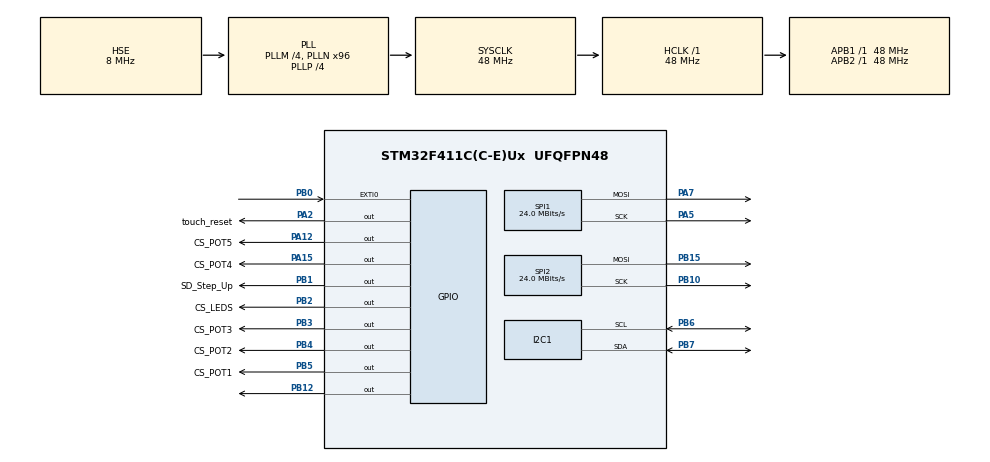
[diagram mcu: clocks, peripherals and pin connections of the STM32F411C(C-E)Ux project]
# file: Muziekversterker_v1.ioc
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Mcu.Family=STM32F4
Mcu.Name=STM32F411C(C-E)Ux
Mcu.Package=UFQFPN48
NVIC.EXTI0_IRQn=true\:0\:0\:false\:false\:true\:true\:true
NVIC.PriorityGroup=NVIC_PRIORITYGROUP_4
PA12.GPIO_Label=CS_POT5
PA12.Signal=GPIO_Output
PA13.Mode=Serial_Wire
PA13.Signal=SYS_JTMS-SWDIO
PA14.Mode=Serial_Wire
PA14.Signal=SYS_JTCK-SWCLK
PA15.GPIO_Label=CS_POT4
PA15.Signal=GPIO_Output
PA2.GPIO_Label=touch_reset
PA2.Signal=GPIO_Output
PA5.Mode=TX_Only_Simplex_Unidirect_Master
PA5.Signal=SPI1_SCK
PA7.Mode=TX_Only_Simplex_Unidirect_Master
PA7.Signal=SPI1_MOSI
PB0.GPIO_ModeDefaultEXTI=GPIO_MODE_IT_RISING
PB0.Signal=GPXTI0
PB1.GPIO_Label=SD_Step_Up
PB1.Signal=GPIO_Output
PB10.Mode=TX_Only_Simplex_Unidirect_Master
PB10.Signal=SPI2_SCK
PB12.Signal=GPIO_Output
PB15.Mode=TX_Only_Simplex_Unidirect_Master
PB15.Signal=SPI2_MOSI
PB2.GPIO_Label=CS_LEDS
PB2.Signal=GPIO_Output
PB3.GPIO_Label=CS_POT3
PB3.Signal=GPIO_Output
PB4.GPIO_Label=CS_POT2
PB4.Signal=GPIO_Output
PB5.GPIO_Label=CS_POT1
PB5.Signal=GPIO_Output
PB6.Mode=I2C
PB6.Signal=I2C1_SCL
PB7.Mode=I2C
PB7.Signal=I2C1_SDA
PH0\ -\ OSC_IN.Mode=HSE-External-Oscillator
PH0\ -\ OSC_IN.Signal=RCC_OSC_IN
PH1\ -\ OSC_OUT.Mode=HSE-External-Oscillator
PH1\ -\ OSC_OUT.Signal=RCC_OSC_OUT
ProjectManager.HeapSize=0x200
ProjectManager.StackSize=0x400
ProjectManager.TargetToolchain=SW4STM32
RCC.48MHZClocksFreq_Value=48000000
RCC.AHBFreq_Value=48000000
RCC.APB1Freq_Value=48000000
RCC.APB1TimFreq_Value=48000000
RCC.APB2Freq_Value=48000000
RCC.APB2TimFreq_Value=48000000
RCC.CortexFreq_Value=48000000
RCC.HCLKFreq_Value=48000000
RCC.HSE_VALUE=8000000
RCC.HSI_VALUE=16000000
RCC.LSE_VALUE=32768
RCC.PLLM=4
RCC.PLLN=96
RCC.PLLP=RCC_PLLP_DIV4
RCC.PLLSourceVirtual=RCC_PLLSOURCE_HSE
RCC.SYSCLKFreq_VALUE=48000000
RCC.SYSCLKSource=RCC_SYSCLKSOURCE_PLLCLK
RCC.VCOOutputFreq_Value=192000000
SPI1.BaudRatePrescaler=SPI_BAUDRATEPRESCALER_2
SPI1.CalculateBaudRate=24.0 MBits/s
SPI1.Direction=SPI_DIRECTION_2LINES
SPI1.Mode=SPI_MODE_MASTER
SPI1.VirtualType=VM_MASTER
SPI2.CalculateBaudRate=24.0 MBits/s
SPI2.Direction=SPI_DIRECTION_2LINES
SPI2.Mode=SPI_MODE_MASTER
SPI2.VirtualType=VM_MASTER
board=custom

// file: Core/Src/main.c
/* USER CODE BEGIN Header */
/**
  ******************************************************************************
  * @file           : main.c
  * @brief          : Main program body
  ******************************************************************************
  * @attention
  *
  * <h2><center>&copy; Copyright (c) 2021 STMicroelectronics.
  * All rights reserved.</center></h2>
  *
  * This software component is licensed by ST under BSD 3-Clause license,
  * the "License"; You may not use this file except in compliance with the
  * License. You may obtain a copy of the License at:
  *                        opensource.org/licenses/BSD-3-Clause
  *
  ******************************************************************************
  */
/* USER CODE END Header */
#include "main.h"

/* USER CODE BEGIN PD */

#define TOUCHADRESS_READ 0x4B
#define TOUCHADRESS_WRITE 0x4A
#define TOUCHSCALING_X 372
#define TOUCHSCALING_Y 341
#define POTVALUE_SCALING 23

/* USER CODE END PD */

I2C_HandleTypeDef hi2c1;

SPI_HandleTypeDef hspi1;
SPI_HandleTypeDef hspi2;

void SystemClock_Config(void);
static void MX_GPIO_Init(void);
static void MX_I2C1_Init(void);
static void MX_SPI1_Init(void);
static void MX_SPI2_Init(void);
/* USER CODE BEGIN PFP */

void writeToLedsRegister(uint8_t[]);
void writeToPotentiometers(uint8_t[],uint16_t, int);
void initializePeripherals(void);
uint8_t readTouches(uint8_t[], uint16_t);
void getCoordinatesLastTouch(uint16_t[]);
void writeToTouchController(uint8_t[],uint16_t);
void initializeLedDriver(void);
void initializeTouchController(void);
void preInitializeTouchController(void);
void setLedValues(void);
void setPotValues(void);
void processTouch(void);
void HAL_GPIO_EXTI_Callback(uint16_t);

/* USER CODE END PFP */

/* USER CODE BEGIN 0 */

//Values of leds kept, every value is value from 0-12 for each sliders led array

uint8_t ledValues[11];
uint8_t potValues[20];
uint16_t touchCoordinates[2];
int isTouchInitialized = 0;

/* USER CODE END 0 */

int main(void)
{

  /* MCU Configuration--------------------------------------------------------*/

  /* Reset of all peripherals, Initializes the Flash interface and the Systick. */
  HAL_Init();

  /* Configure the system clock */
  SystemClock_Config();

  /* Initialize all configured peripherals */
  MX_GPIO_Init();
  MX_I2C1_Init();
  MX_SPI1_Init();
  MX_SPI2_Init();
  /* USER CODE BEGIN 2 */

  //Initialization of Potvalues to 0

  for(int i=0;i<20;i++){
	  potValues[i]=0x00;
  }

  //L-R balance default op mid zetten
  potValues[17]=128;

  //initialization of LedValues to 0
  for(int i=0;i<11;i++){
	  ledValues[i]=0x00;
  }

  initializePeripherals();
  initializeLedDriver();
  preInitializationTouchController();

  /* USER CODE END 2 */

  /* Infinite loop */
  while (1)
  {

  }
}

void SystemClock_Config(void)
{
  RCC_OscInitTypeDef RCC_OscInitStruct = {0};
  RCC_ClkInitTypeDef RCC_ClkInitStruct = {0};

  /** Configure the main internal regulator output voltage
  */
  __HAL_RCC_PWR_CLK_ENABLE();
  __HAL_PWR_VOLTAGESCALING_CONFIG(PWR_REGULATOR_VOLTAGE_SCALE1);
  /** Initializes the RCC Oscillators according to the specified parameters
  * in the RCC_OscInitTypeDef structure.
  */
  RCC_OscInitStruct.OscillatorType = RCC_OSCILLATORTYPE_HSE;
  RCC_OscInitStruct.HSEState = RCC_HSE_ON;
  RCC_OscInitStruct.PLL.PLLState = RCC_PLL_ON;
  RCC_OscInitStruct.PLL.PLLSource = RCC_PLLSOURCE_HSE;
  RCC_OscInitStruct.PLL.PLLM = 4;
  RCC_OscInitStruct.PLL.PLLN = 96;
  RCC_OscInitStruct.PLL.PLLP = RCC_PLLP_DIV4;
  RCC_OscInitStruct.PLL.PLLQ = 4;
  if (HAL_RCC_OscConfig(&RCC_OscInitStruct) != HAL_OK)
  {
    Error_Handler();
  }
  /** Initializes the CPU, AHB and APB buses clocks
  */
  RCC_ClkInitStruct.ClockType = RCC_CLOCKTYPE_HCLK|RCC_CLOCKTYPE_SYSCLK
                              |RCC_CLOCKTYPE_PCLK1|RCC_CLOCKTYPE_PCLK2;
  RCC_ClkInitStruct.SYSCLKSource = RCC_SYSCLKSOURCE_PLLCLK;
  RCC_ClkInitStruct.AHBCLKDivider = RCC_SYSCLK_DIV1;
  RCC_ClkInitStruct.APB1CLKDivider = RCC_HCLK_DIV1;
  RCC_ClkInitStruct.APB2CLKDivider = RCC_HCLK_DIV1;

  if (HAL_RCC_ClockConfig(&RCC_ClkInitStruct, FLASH_LATENCY_1) != HAL_OK)
  {
    Error_Handler();
  }
}

static void MX_I2C1_Init(void)
{

  hi2c1.Instance = I2C1;
  hi2c1.Init.ClockSpeed = 100000;
  hi2c1.Init.DutyCycle = I2C_DUTYCYCLE_2;
  hi2c1.Init.OwnAddress1 = 0;
  hi2c1.Init.AddressingMode = I2C_ADDRESSINGMODE_7BIT;
  hi2c1.Init.DualAddressMode = I2C_DUALADDRESS_DISABLE;
  hi2c1.Init.OwnAddress2 = 0;
  hi2c1.Init.GeneralCallMode = I2C_GENERALCALL_DISABLE;
  hi2c1.Init.NoStretchMode = I2C_NOSTRETCH_DISABLE;
  if (HAL_I2C_Init(&hi2c1) != HAL_OK)
  {
    Error_Handler();
  }

}

static void MX_SPI1_Init(void)
{

  /* SPI1 parameter configuration*/
  hspi1.Instance = SPI1;
  hspi1.Init.Mode = SPI_MODE_MASTER;
  hspi1.Init.Direction = SPI_DIRECTION_2LINES;
  hspi1.Init.DataSize = SPI_DATASIZE_8BIT;
  hspi1.Init.CLKPolarity = SPI_POLARITY_LOW;
  hspi1.Init.CLKPhase = SPI_PHASE_1EDGE;
  hspi1.Init.NSS = SPI_NSS_SOFT;
  hspi1.Init.BaudRatePrescaler = SPI_BAUDRATEPRESCALER_2;
  hspi1.Init.FirstBit = SPI_FIRSTBIT_MSB;
  hspi1.Init.TIMode = SPI_TIMODE_DISABLE;
  hspi1.Init.CRCCalculation = SPI_CRCCALCULATION_DISABLE;
  hspi1.Init.CRCPolynomial = 10;
  if (HAL_SPI_Init(&hspi1) != HAL_OK)
  {
    Error_Handler();
  }

}

static void MX_SPI2_Init(void)
{

  /* SPI2 parameter configuration*/
  hspi2.Instance = SPI2;
  hspi2.Init.Mode = SPI_MODE_MASTER;
  hspi2.Init.Direction = SPI_DIRECTION_2LINES;
  hspi2.Init.DataSize = SPI_DATASIZE_8BIT;
  hspi2.Init.CLKPolarity = SPI_POLARITY_LOW;
  hspi2.Init.CLKPhase = SPI_PHASE_1EDGE;
  hspi2.Init.NSS = SPI_NSS_SOFT;
  hspi2.Init.BaudRatePrescaler = SPI_BAUDRATEPRESCALER_2;
  hspi2.Init.FirstBit = SPI_FIRSTBIT_MSB;
  hspi2.Init.TIMode = SPI_TIMODE_DISABLE;
  hspi2.Init.CRCCalculation = SPI_CRCCALCULATION_DISABLE;
  hspi2.Init.CRCPolynomial = 10;
  if (HAL_SPI_Init(&hspi2) != HAL_OK)
  {
    Error_Handler();
  }

}

static void MX_GPIO_Init(void)
{
  GPIO_InitTypeDef GPIO_InitStruct = {0};

  /* GPIO Ports Clock Enable */
  __HAL_RCC_GPIOH_CLK_ENABLE();
  __HAL_RCC_GPIOA_CLK_ENABLE();
  __HAL_RCC_GPIOB_CLK_ENABLE();

  /*Configure GPIO pin Output Level */
  HAL_GPIO_WritePin(GPIOA, touch_reset_Pin|CS_POT5_Pin|CS_POT4_Pin, GPIO_PIN_RESET);

  /*Configure GPIO pin Output Level */
  HAL_GPIO_WritePin(GPIOB, SD_Step_Up_Pin|CS_LEDS_Pin|GPIO_PIN_12|CS_POT3_Pin
                          |CS_POT2_Pin|CS_POT1_Pin, GPIO_PIN_RESET);

  /*Configure GPIO pins : touch_reset_Pin CS_POT5_Pin CS_POT4_Pin */
  GPIO_InitStruct.Pin = touch_reset_Pin|CS_POT5_Pin|CS_POT4_Pin;
  GPIO_InitStruct.Mode = GPIO_MODE_OUTPUT_PP;
  GPIO_InitStruct.Pull = GPIO_NOPULL;
  GPIO_InitStruct.Speed = GPIO_SPEED_FREQ_LOW;
  HAL_GPIO_Init(GPIOA, &GPIO_InitStruct);

  /*Configure GPIO pin : PB0 */
  GPIO_InitStruct.Pin = GPIO_PIN_0;
  GPIO_InitStruct.Mode = GPIO_MODE_IT_RISING;
  GPIO_InitStruct.Pull = GPIO_NOPULL;
  HAL_GPIO_Init(GPIOB, &GPIO_InitStruct);

  /*Configure GPIO pins : SD_Step_Up_Pin CS_LEDS_Pin PB12 CS_POT3_Pin
                           CS_POT2_Pin CS_POT1_Pin */
  GPIO_InitStruct.Pin = SD_Step_Up_Pin|CS_LEDS_Pin|GPIO_PIN_12|CS_POT3_Pin
                          |CS_POT2_Pin|CS_POT1_Pin;
  GPIO_InitStruct.Mode = GPIO_MODE_OUTPUT_PP;
  GPIO_InitStruct.Pull = GPIO_NOPULL;
  GPIO_InitStruct.Speed = GPIO_SPEED_FREQ_LOW;
  HAL_GPIO_Init(GPIOB, &GPIO_InitStruct);

  /* EXTI interrupt init*/
  HAL_NVIC_SetPriority(EXTI0_IRQn, 0, 0);
  HAL_NVIC_EnableIRQ(EXTI0_IRQn);

}

/* USER CODE BEGIN 4 */

void HAL_GPIO_EXTI_Callback(uint16_t GPIO_Pin){
	if(GPIO_Pin == GPIO_PIN_0){

		//first time interrupt is generated is for initialization for touchcontroller
		if(!isTouchInitialized){
			initializeTouchController();
			isTouchInitialized = 1;
		}else{

			//interrupt generated by touchcontroller, should read out last touch now
			getCoordinatesLastTouch(touchCoordinates);
			//use touchcoordinates to write to LEDs & pots

			processTouch();
			//converting touchCoordinates to usable values for LEDs & pots

		}
	}
}

void getCoordinatesLastTouch(uint16_t touchCo[]){
	uint8_t databuf[20];
	readTouches(databuf,6); //6 expected

	/**byte 0 = amount total bytes
	 * byte 1 = TOUCHID, not really relevant
	 * byte 2 = part of touch X coordinate
	 * byte 3 = other part of touch X coordinate
	 * byte 4 = part of touch Y coordinate
	 * byte 5 = other part of touch Y coordinate
	 */

	//writing X out
	touchCo[0] = (((uint16_t)databuf[3])<<7) + ((uint16_t)databuf[2]);

	//writing Y out
	touchCo[1] = (((uint16_t)databuf[5])<<7) + ((uint16_t)databuf[4]);
}

uint8_t readTouches(uint8_t databuf[], uint16_t amount_bytes_expected){
	/** reads via i2c, can only read when controller throws interrupt
	 *     ------nog aan te passen!!!
	 */
	HAL_I2C_Master_Receive(&hi2c1,TOUCHADRESS_READ,databuf,amount_bytes_expected,50);
	uint8_t bytesToReceive = (uint8_t)(databuf[0]);

	return bytesToReceive;
}

void writeToTouchController(uint8_t data[],uint16_t amountData){
	HAL_I2C_Master_Transmit(&hi2c1,TOUCHADRESS_WRITE,data,amountData,50);
	//HAL_I2C_Mem_Write(&hi2c1,TOUCHADRESS_WRITE,memAddress,memAddressSize,data,amountData,50);
}

void initializePeripherals(){
	HAL_GPIO_WritePin(touch_reset_GPIO_Port,touch_reset_Pin,GPIO_PIN_SET);
	HAL_GPIO_WritePin(CS_LEDS_GPIO_Port,CS_LEDS_Pin,GPIO_PIN_SET);
	HAL_GPIO_WritePin(CS_POT1_GPIO_Port,CS_POT1_Pin,GPIO_PIN_SET);
	HAL_GPIO_WritePin(CS_POT2_GPIO_Port,CS_POT2_Pin,GPIO_PIN_SET);
	HAL_GPIO_WritePin(CS_POT3_GPIO_Port,CS_POT3_Pin,GPIO_PIN_SET);
	HAL_GPIO_WritePin(CS_POT4_GPIO_Port,CS_POT4_Pin,GPIO_PIN_SET);
	HAL_GPIO_WritePin(CS_POT5_GPIO_Port,CS_POT5_Pin,GPIO_PIN_SET);

}

void writeToLedsRegister(uint8_t data[]){
	/**
	 * uses SPI2 of µc
	 * 2 ic are daisychained after each other
	 * CS is active low, so put it high by default
	 *
	 * Both chips are controlled by daisychaining data; each chip needs 16 bit data,
	 * so two 16 bit values are sent after each other, then CS is pulled high
	*/

	HAL_GPIO_WritePin(CS_LEDS_GPIO_Port, CS_LEDS_Pin, GPIO_PIN_RESET);
	HAL_SPI_Transmit(&hspi2,data,4,100);
	HAL_GPIO_WritePin(CS_LEDS_GPIO_Port, CS_LEDS_Pin, GPIO_PIN_SET);

}

void setLedValues(){
	//Decoding led values to instructions for led drivers

	/* Noticed a flaw in way led-matrix is set up,
	 * will very likely not be possible to drive LEDs of sliders 9,10 or 11,
	 * neither will LED layers 9,10,11 and 12 be drivable.
	 * There will still be LEDs drivable on Sliders 1-8,
	 *  and of those Led layers 1-8
	 *
	 *
	 *  Data stored is in order:
	 *  7:0 (led layers)
	 *  D7,D0,D1,D2, D3,D4,D5,D6
	 */

	/*  looping over different ledsliders
	 *  LedSlider Mapping : see below
	 */

	uint8_t data[4]; //used to write data out
	uint8_t ledSliderMap[8]= {0x01,0x02,0x03,0x04, 0x05,0x06,0x07,0x08};
	for(int ledSlider=0;ledSlider<8;ledSlider++){

		//easiest to write these manually
		uint8_t ledValue=0x00;
		ledValue = ledValue | ( ledValues[ledSlider] & 0b10000000); 		//writing bit 7
		ledValue = ledValue | ((ledValues[ledSlider] & 0b00000001)<<6);		//writing bit 6
		ledValue = ledValue | ((ledValues[ledSlider] & 0b00000010)<<4);		//writing bit 5
		ledValue = ledValue | ((ledValues[ledSlider] & 0b00000100)<<2);		//writing bit 4
		ledValue = ledValue | ( ledValues[ledSlider] & 0b00001000);			//writing bit 3
		ledValue = ledValue | ((ledValues[ledSlider] & 0b00010000)>>2);		//writing bit 2
		ledValue = ledValue | ((ledValues[ledSlider] & 0b00100000)>>4);		//writing bit 1
		ledValue = ledValue | ((ledValues[ledSlider] & 0b01000000)>>6);		//writing bit 0

		data[0]=ledSliderMap[ledSlider];
		data[1]=ledValue;
		data[2]=0x00; //no-op code, second controller doesn't need to display bc of problem noted above
		data[3]=0x00;
		writeToLedsRegister(data);
	}
}

void initializeLedDriver(){
	//LED driver (MAX7219)
	uint8_t data[4];

	//set decode mode for both chips to no decode
	data[0]=0x09;
	data[1]=0x00;
	data[2]=0x09;
	data[3]=0x00;
	writeToLedsRegister(data);

	//Intensity setting; register 0x0A
	//by default both set to max intensity, can be adjusted if some are brighter than others
	data[0]=0x0A;
	data[1]=0x0F;
	data[2]=0x0A;
	data[3]=0x0F;
	writeToLedsRegister(data);

	/**scan-limit mode, set to 8 digits for first one, 3 for other one,
	 * for a total of 11 "digits".
	 * Each "digit" represents a slider with leds,
	 * every segment represents a vertical led layer
	 */
	data[0]=0x0B;
	data[1]=0x07;
	data[0]=0x0B;
	data[1]=0x02;
	writeToLedsRegister(data);

	//enabling shutdown register
	data[0]=0x0C;
	data[1]=0x01;		//writing 0x01 to enable
	data[2]=0x0C;
	data[3]=0x01;
	writeToLedsRegister(data);

}

void preInitializeTouchController(){
	//writing reset high/low
	HAL_GPIO_WritePin(touch_reset_GPIO_Port,touch_reset_Pin,GPIO_PIN_RESET);
	HAL_Delay(1);
	HAL_GPIO_WritePin(touch_reset_GPIO_Port,touch_reset_Pin,GPIO_PIN_SET);
}

void initializeTouchController(){
	//Touch controller (MTCH6301)

	uint8_t data[5];

	//following guide to initialize component

	//disable touch cmd
	data[0]=0x55;
	data[1]=0x01; //# of bytes to send
	data[2]=0x01; //disable touch cmd
	writeToTouchController(data,3);

	//write parameters --> write to registers

	//RX channels
	data[0]=0x55;
	data[1]=0x04; //# of bytes to send
	data[2]=0x15; //write to register cmd
	data[3]=0x00; //index location (see datasheet registers) 	here: general		: 0x00
	data[4]=0x01; //offset location 							here: RX channels 	: 0x01
	data[5]=0x0B; //value to write 								here: 11 -> 		: 0x0B
	writeToTouchController(data,6);

	//TX channels
	data[0]=0x55;
	data[1]=0x04; //# of bytes to send
	data[2]=0x15; //write to register cmd
	data[3]=0x00; //index location (see datasheet registers) 	here: general		: 0x00
	data[4]=0x02; //offset location 							here: TX channels 	: 0x02
	data[5]=0x0C; //value to write 								here: 12 -> 		: 0x0C
	writeToTouchController(data,6);

	//RX scaling <7:0>
	data[0]=0x55;
	data[1]=0x04; //# of bytes to send
	data[2]=0x15; //write to register cmd
	data[3]=0x00; //index location (see datasheet registers) 	here: general			: 0x00
	data[4]=0x04; //offset location 							here: RX scaling <7:0>	: 0x04
	data[5]=0x45; //value to write 								here: 5957 -> 0x1745 -> : 0x45
	writeToTouchController(data,6);

	//RX scaling <15:8>
	data[0]=0x55;
	data[1]=0x04; //# of bytes to send
	data[2]=0x15; //write to register cmd
	data[3]=0x00; //index location (see datasheet registers) 	here: general			: 0x00
	data[4]=0x05; //offset location 							here: RX scaling <15:8>	: 0x05
	data[5]=0x17; //value to write 								here: 5957 -> 0x1745 -> : 0x17
	writeToTouchController(data,6);

	//TX scaling <7:0>
	data[0]=0x55;
	data[1]=0x04; //# of bytes to send
	data[2]=0x15; //write to register cmd
	data[3]=0x00; //index location (see datasheet registers) 	here: general			: 0x00
	data[4]=0x06; //offset location 							here: TX scaling <7:0>	: 0x06
	data[5]=0x55; //value to write 								here: 5461 -> 0x1555 -> : 0x55
	writeToTouchController(data,6);

	//TX scaling <15:8>
	data[0]=0x55;
	data[1]=0x04; //# of bytes to send
	data[2]=0x15; //write to register cmd
	data[3]=0x00; //index location (see datasheet registers) 	here: general			: 0x00
	data[4]=0x07; //offset location 							here: TX scaling <15:8>	: 0x07
	data[5]=0x15; //value to write 								here: 5461 -> 0x1555 -> : 0x15
	writeToTouchController(data,6);

	//Sensormapping

	uint8_t registermap[12] ={0x00,0x01,0x02,0x03, 0x04,0x05,0x06,0x07, 0x08,0x09,0x0A,0x0B};
	// RX map = {8,7,3,10, 6,1,5,0, 4,9,2}
	uint8_t RX_mapping[11]  ={0x08,0x07,0x03,0x0A, 0x06,0x01,0x05,0x00, 0x04,0x09,0x02};
	// TX map = {13,6,3,2, 4,30,29,28, 7,14,15,16}
	uint8_t TX_mapping[12]  ={0x0D,0x06,0x03,0x02, 0x04,0x1E,0x1D,0x1C, 0x07,0x0E,0x0F,0x10};

	//RX Mapping
	for(int i=0; i<11 ;i++){
		data[0]=0x55;
		data[1]=0x04; 					//# of bytes to send
		data[2]=0x15; 					//write to register cmd
		data[3]=0x01; 					//index location (see datasheet registers) 	here: sensor map RX	: 0x01
		data[4]=registermap[i]; 	  	//offset location 							here: RX map i		: see registermap above
		data[5]=RX_mapping[i]; 			//value to write 							here: RX value i 	: see RX mapping above
		writeToTouchController(data,6);
	}

	//TX Mapping

	for(int i=0; i<12 ;i++){
		data[0]=0x55;
		data[1]=0x04; 					//# of bytes to send
		data[2]=0x15; 					//write to register cmd
		data[3]=0x02; 					//index location (see datasheet registers) 	here: sensor map TX	: 0x02
		data[4]=registermap[i]; 	  	//offset location 							here: TX map i		: see registermap above
		data[5]=TX_mapping[i]; 			//value to write 							here: TX value i 	: see TX mapping above
		writeToTouchController(data,6);
	}

	//Decoding :

	//Flip State
	data[0]=0x55;
	data[1]=0x04; //# of bytes to send
	data[2]=0x15; //write to register cmd
	data[3]=0x30; //index location (see datasheet registers) 	here: decoding		: 0x30
	data[4]=0x02; //offset location 							here: flipstate		: 0x02
	data[5]=0x04; //value to write 								here: 0b100		 	: 0x04
	writeToTouchController(data,6);

	//Possibly extra values to change: subject to change

	//send scan baseline command
	data[0]=0x55;
	data[1]=0x01; //# of bytes to send
	data[2]=0x14; //scan baseline cmd
	writeToTouchController(data,3);

	//enable touch cmd
	data[0]=0x55;
	data[1]=0x01; //# of bytes to send
	data[2]=0x00; //enable touch cmd
	writeToTouchController(data,3);

}

void processTouch(){
	/* no arguments needed, bc all values used and written to
	 * are saved as global variables.
	 * That being:
	 *  touchCoo, ledValues & potValues
	 */

	//printf("Touchcoordinates (x,y)\r\n%x\r\n%x\r\n",touchCoordinates[0],touchCoordinates[1]);
	//depending on these values, needs to be converted into led values & pot values

	//Touchcontroller get values from 0->4096 for both axis

	int i=0; //used to loop
	int j=0;
	uint8_t slider;
	uint8_t sliderheight;

	//checking for slider with loop
	while(i<11 && slider==NULL){
		if(i*TOUCHSCALING_X < touchCoordinates[0] && touchCoordinates[0] < (i+1) * TOUCHSCALING_X){
			slider = i;
		}
		i++;
	}

	//default value if something went wrong
	if(slider==NULL){
		slider=0;
	}

	//checking for heightvalue with loop
	while(j<12 && sliderheight ==NULL){
		if(j*TOUCHSCALING_Y < touchCoordinates[1] && touchCoordinates[1] <(j+1)*TOUCHSCALING_Y){
			sliderheight = j;
		}
		j++;
	}

	//default value if something went wrong
	if(sliderheight==NULL){
		sliderheight=0;
	}

	//Setting LED values to relevant value
	switch(sliderheight){
		case 0:
			ledValues[slider]=0b00000001;
			break;
		case 1:
			ledValues[slider]=0b00000011;
			break;
		case 2:
			ledValues[slider]=0b00000111;
			break;
		case 3:
			ledValues[slider]=0b00001111;
			break;
		case 4:
			ledValues[slider]=0b00011111;
			break;
		case 5:
			ledValues[slider]=0b00111111;
			break;
		case 6:
			ledValues[slider]=0b01111111;
			break;
		case 7:
			ledValues[slider]=0b11111111;
			break;

		//for cases higher, also just write max value
		case 8:
			ledValues[slider]=0b11111111;
			break;
		case 9:
			ledValues[slider]=0b11111111;
			break;
		case 10:
			ledValues[slider]=0b11111111;
			break;
		case 11:
			ledValues[slider]=0b11111111;
			break;

		default:
			ledValues[slider]=0b00000000;
			break;
	}

	//setting potValues to relevant values

	//SLIDERS NOG AAN TE PASSEN!!!! -> naar welke pot meter er relevant is voor welke slider
	switch(slider){
		case 0:		//BASS LINE1 -> POT6 & POT11
			potValues[5]= POTVALUE_SCALING * (uint8_t)sliderheight;
			potValues[10]= POTVALUE_SCALING * (uint8_t)sliderheight;
			break;
		case 1:		//MID LINE1 -> POT7 & POT10
			potValues[6]= POTVALUE_SCALING * (uint8_t)sliderheight;
			potValues[9]= POTVALUE_SCALING * (uint8_t)sliderheight;
			break;
		case 2:		//TREBLE LINE1 -> POT8 & POT9
			potValues[7]= POTVALUE_SCALING * (uint8_t)sliderheight;
			potValues[8]= POTVALUE_SCALING * (uint8_t)sliderheight;
			break;
		case 3:		//VOL LINE1 -> POT2 & POT3
			potValues[1]= POTVALUE_SCALING * (uint8_t)sliderheight;
			potValues[2]= POTVALUE_SCALING * (uint8_t)sliderheight;
			break;
		case 4:		//VOL LINE2 -> POT4 & POT5
			potValues[3]= POTVALUE_SCALING * (uint8_t)sliderheight;
			potValues[4]= POTVALUE_SCALING * (uint8_t)sliderheight;
			break;
		case 5:		//BASS LINE2 ->POT12 & POT17
			potValues[11]= POTVALUE_SCALING * (uint8_t)sliderheight;
			potValues[16]= POTVALUE_SCALING * (uint8_t)sliderheight;
			break;
		case 6:		//MID LINE2 -> POT13 & POT16
			potValues[12]= POTVALUE_SCALING * (uint8_t)sliderheight;
			potValues[15]= POTVALUE_SCALING * (uint8_t)sliderheight;
			break;
		case 7:		//TREBLE LINE2 -> POT14 & POT15
			potValues[13]= POTVALUE_SCALING * (uint8_t)sliderheight;
			potValues[14]= POTVALUE_SCALING * (uint8_t)sliderheight;
			break;
		case 8:		//MIC VOL -> POT1
			potValues[0]= POTVALUE_SCALING * (uint8_t)sliderheight;
			break;
		case 9:		//MASTER OUT -> POT19 & POT20
			potValues[18]= POTVALUE_SCALING * (uint8_t)sliderheight;
			potValues[19]= POTVALUE_SCALING * (uint8_t)sliderheight;
			break;
		case 10:	//BALANCE L-R -> POT18
			potValues[17]= POTVALUE_SCALING * (uint8_t)sliderheight;
			break;
		default:
			//niks doen
			break;

	}

	//Call funcions that handle writing to IC's
	setLedValues();

}

void setPotValues(){
	uint

	for(int pot=1;pot<6;pot++){
		switch(pot){
			case 1:
				writeToPotentiometers(potValues[])

		}
	}

}

void writeToPotentiometers(uint8_t data[], uint16_t amountBytes,  int pot_ic){
	/**
	 * AD5204
	 * uses SPI1 of µc
	 * 5 different pot_ics, each containing 4 potentiometers.
	 * each pot_ic is addressed with corresponding CS_POTx
	 *
	 *  When writing data to pots, only 11 bits are needed.
	 *  3 bits for pot address, 8 bits for value.
	 *  We'll send 2 bytes, first byte send having 5 0's appended first, as they will get shifted out anyway.
	 *
	 *
	 *  No initialization for pots is needed
	 */

	switch(pot_ic)
	{
		case 1:
			HAL_GPIO_WritePin(CS_POT1_GPIO_Port,CS_POT1_Pin, GPIO_PIN_RESET);
			HAL_SPI_Transmit(&hspi1,data,amountBytes,50);
			HAL_GPIO_WritePin(CS_POT1_GPIO_Port,CS_POT1_Pin, GPIO_PIN_SET);
			break;
		case 2:
			HAL_GPIO_WritePin(CS_POT2_GPIO_Port,CS_POT2_Pin, GPIO_PIN_RESET);
			HAL_SPI_Transmit(&hspi1,data,amountBytes,50);
			HAL_GPIO_WritePin(CS_POT2_GPIO_Port,CS_POT2_Pin, GPIO_PIN_SET);
			break;
		case 3:
			HAL_GPIO_WritePin(CS_POT3_GPIO_Port,CS_POT3_Pin, GPIO_PIN_RESET);
			HAL_SPI_Transmit(&hspi1,data,amountBytes,50);
			HAL_GPIO_WritePin(CS_POT3_GPIO_Port,CS_POT3_Pin, GPIO_PIN_SET);
			break;
		case 4:
			HAL_GPIO_WritePin(CS_POT4_GPIO_Port,CS_POT4_Pin, GPIO_PIN_RESET);
			HAL_SPI_Transmit(&hspi1,data,amountBytes,50);
			HAL_GPIO_WritePin(CS_POT4_GPIO_Port,CS_POT4_Pin, GPIO_PIN_SET);
			break;
		case 5:
			HAL_GPIO_WritePin(CS_POT5_GPIO_Port,CS_POT5_Pin, GPIO_PIN_RESET);
			HAL_SPI_Transmit(&hspi1,data,amountBytes,50);
			HAL_GPIO_WritePin(CS_POT5_GPIO_Port,CS_POT5_Pin, GPIO_PIN_SET);
			break;
		default:
			//printf("Error\r\n");

	}

}

/* USER CODE END 4 */

void Error_Handler(void)
{
}

/************************ (C) COPYRIGHT STMicroelectronics *****END OF FILE****/
